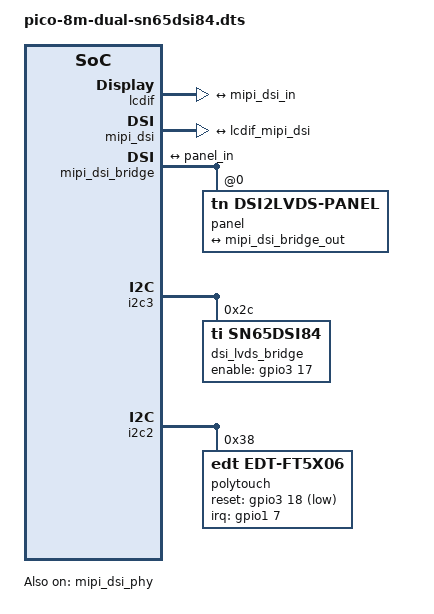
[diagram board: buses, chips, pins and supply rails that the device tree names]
/*
 * Copyright 2018 Technexion Ltd.
 *
 * Author: Richard Hu <richard.hu@technexion.com>, Po Cheng <po.cheng@technexion.com>
 *
 * This program is free software; you can redistribute it and/or
 * modify it under the terms of the GNU General Public License
 * as published by the Free Software Foundation; either version 2
 * of the License, or (at your option) any later version.
 *
 * This program is distributed in the hope that it will be useful,
 * but WITHOUT ANY WARRANTY; without even the implied warranty of
 * MERCHANTABILITY or FITNESS FOR A PARTICULAR PURPOSE.  See the
 * GNU General Public License for more details.
 */

#include "pico-8m.dts"

/ {
	backlight_mipi {
		status = "okay";
	};
};

&lcdif {
	status = "okay";

	/* important to overwrite max-res otherwise DRM lcdif will fail to find a suitable connector */
	max-res = <4096>, <4096>;

	port@0 {
		lcdif_mipi_dsi: mipi-dsi-endpoint {
			remote-endpoint = <&mipi_dsi_in>;
		};
	};
};

&mipi_dsi_phy {
	status = "okay";
};

&mipi_dsi {
	status = "okay";
	as_bridge;
	sync-pol = <1>;
	pwr-delay = <50>;
	best-match;

	port@1 {
		mipi_dsi_in: lcdif-endpoint {
			remote-endpoint = <&lcdif_mipi_dsi>;
		};
	};
};

&mipi_dsi_bridge {
	status = "okay";

	panel@0 {
		reg = <0>;
		/* compatible = "innolux,hj070na"; */
		compatible = "tn,dsi2lvds-panel";
		/* backlight = <&backlight>; */
		/* pinctrl-0 = <&pinctrl_mipi_dsi_rst>; */
		/* enable-gpios = <&gpio3 17 GPIO_ACTIVE_HIGH>; */
		dsi,flags = <0x0007>;
		dsi,format = <0>;
		dsi,lanes = <4>;
		panel-width-mm  = <153>;
		panel-height-mm = <90>;
		bus-flags = <1>;
		refresh-rate = <60>;
		rotate = <0>;
		/* horz-flip; */
		/* vert-flip; */

		display-timings {
			native-mode = <&timing0>;
			timing0: hj070na {
				clock-frequency = <51000000>;
				hactive = <1024>;
				vactive = <600>;
				hfront-porch = <120>;
				hsync-len = <100>;
				hback-porch = <90>;
				vfront-porch = <1>;
				vsync-len = <33>;
				vback-porch = <1>;
				hsync-active = <1>;
				vsync-active = <1>;
			};
		};

		port {
			panel_in: endpoint {
				remote-endpoint = <&mipi_dsi_bridge_out>;
			};
		};
	};

	port@1 {
		mipi_dsi_bridge_out: endpoint {
			remote-endpoint = <&panel_in>;
		};
	};
};

&i2c3 {
	dsi_lvds_bridge: sn65dsi84@2c {
		reg = <0x2c>;
		status = "okay";
		compatible = "ti,sn65dsi84";
		#gpio-cells = <2>;
		enable-gpios = <&gpio3 17 GPIO_ACTIVE_HIGH>; /* <&pinctrl_mipi_dsi_rst>; */
		sn65dsi84,addresses = <0x09 0x0A 0x0B 0x0D
		                       0x10 0x11 0x12 0x13
                               0x18 0x19 0x1A 0x1B
                               0x20 0x21 0x22 0x23
                               0x24 0x25 0x26 0x27
                               0x28 0x29 0x2A 0x2B
                               0x2C 0x2D 0x2E 0x2F
                               0x30 0x31 0x32 0x33
                               0x34 0x35 0x36 0x37
                               0x38 0x39 0x3A 0x3B
                               0x3C 0x3D 0x3E 0x0D>;

		sn65dsi84,values = </* reset and clock registers */
		                    0x00 0x03 0x10 0x00
                            /* DSI registers */
		                    0x26 0x00 0x1e 0x00
		                    /* LVDS registers */
                            0x7a 0x00 0x03 0x00

                            /* video registers */
                            /* cha-al-len-l, cha-al-len-h, chb-al-len-l, chb-al-len-h */
                            0x00 0x04 0x00 0x00
                            /* cha-v-ds-l, cha-v-ds-h, chb-v-ds-l, chb-v-ds-h */
                            0x00 0x00 0x00 0x00
                            /* cha-sdl, cha-sdh, chb-sdl, chb-sdh */
                            0x21 0x00 0x00 0x00
                            /* cha-hs-pwl, cha-hs-pwh, chb-hs-pwl, chb-hs-pwh */
                            0x64 0x00 0x00 0x00
                            /* cha-vs-pwl, cha-vs-pwh, chb-vs-pwl, chb-vs-pwh */
                            0x21 0x00 0x00 0x00
                            /* cha-hbp, chb-hbp, cha-vbp, chb-vbp*/
                            0x5a 0x00 0x00 0x00
                            /* cha-hfp, chb-hfp, cha-vfp, chb-vfp*/
                            0x00 0x00 0x00 0x00

                            0x00 0x00 0x00 0x01>;
	};
};

&i2c2 {
	polytouch: edt-ft5x06@38 {
		status = "okay";
		compatible = "edt,edt-ft5x06";
		reg = <0x38>;
		pinctrl-names = "default";
		pinctrl-0 = <&pinctrl_ft5336_touch_irq &pinctrl_ft5336_touch_rst>;
		interrupt-parent = <&gpio1>;
		interrupts = <7 IRQ_TYPE_EDGE_FALLING>;
		reset-gpios = <&gpio3 18 GPIO_ACTIVE_LOW>;
		touchscreen-size-x = <720>;
		touchscreen-size-y = <1280>;
	};
};
